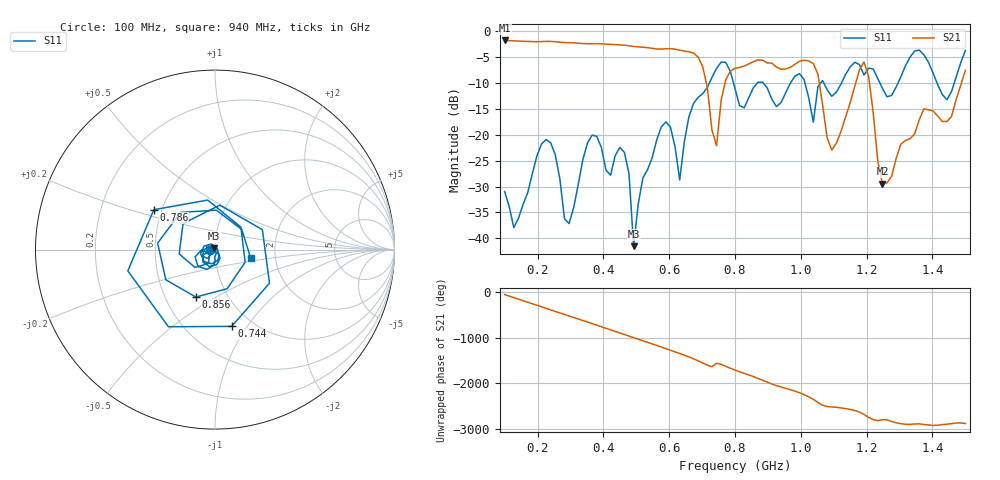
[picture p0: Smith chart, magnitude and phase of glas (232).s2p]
! NanoVNA-App
! Date: 2025-09-25 15:57:16
! Start: 100MHz Stop: 1,5GHz Points: 101
! S-Parameter data: F S11 S21 S12 S22
# Hz S RI R 50
!  Frequency  S11_Real  S11_Imag  S21_Real  S21_Imag  S12_Real  S12_Imag  S22_Real  S22_Imag
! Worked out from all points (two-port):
!   101 points, 100 MHz to 1.5 GHz, reference 50 ohm
!   highest |S21| = -1.80 dB at 100 MHz (marker M1); lowest = -29.4 dB at 1.248 GHz (marker M2)
!   |S21| within 3 dB of the highest: start of sweep to 684.3 MHz
!   lowest |S11| = -41.5 dB at 492 MHz (marker M3), VSWR 1.02, Z = 49.4 + j0.617 ohm
!   |S11| at or under -10 dB: start of sweep to 722.3 MHz; 795.3 MHz to 868.1 MHz (72.75 MHz wide, 8.75 % of centre); 885.9 MHz to 968.7 MHz (82.83 MHz wide, 8.93 % of centre) (the widest 3 of 7)
!   S12 and S22 are empty: the file has one direction only
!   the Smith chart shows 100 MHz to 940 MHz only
!   S11 on the Smith chart (normalised r, x): 100 MHz: 0.95, -0.01; 744 MHz: 0.80, -0.85; 786 MHz: 0.45, +0.24; 856 MHz: 0.71, -0.41; 940 MHz: 1.49, -0.15
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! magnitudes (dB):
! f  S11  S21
! 100 MHz  -30.9  -1.8
! 128 MHz  -37.9  -1.9
! 226 MHz  -20.9  -2.0
! 296 MHz  -37.2  -2.2
! 338 MHz  -24.7  -2.4
! 464 MHz  -23.4  -2.7
! 492 MHz  -41.5  -3.0
! 576 MHz  -18.5  -3.5
! 632 MHz  -28.7  -3.7
! 702 MHz  -12.1  -6.9
! 744 MHz  -7.2  -22.1
! 786 MHz  -7.8  -7.7
! 800 MHz  -11.1  -7.2
! 856 MHz  -10.9  -5.9
! 940 MHz  -13.8  -7.4
! 996 MHz  -8.2  -5.8
! 1.038 GHz  -17.6  -6.3
! 1.094 GHz  -12.6  -23.0
! 1.192 GHz  -8.5  -6.0
! 1.248 GHz  -11.1  -29.4
! 1.276 GHz  -12.4  -28.0
! 1.5 GHz  -3.7  -7.6
